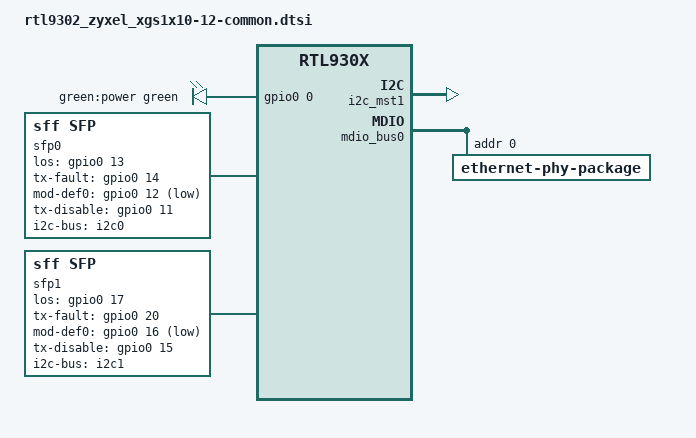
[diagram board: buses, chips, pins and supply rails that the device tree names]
// SPDX-License-Identifier: GPL-2.0-or-later
/dts-v1/;

#include "rtl930x.dtsi"

#include <dt-bindings/input/input.h>
#include <dt-bindings/gpio/gpio.h>
#include <dt-bindings/leds/common.h>

/ {
	aliases {
		led-boot = &led_pwr_sys;
		led-failsafe = &led_pwr_sys;
		led-running = &led_pwr_sys;
		led-upgrade = &led_pwr_sys;
	};

	leds {
		compatible = "gpio-leds";

		pinctrl-names = "default";
		pinctrl-0 = <&pinmux_disable_sys_led>;

		led_pwr_sys: led-0 {
			label = "green:power";
			color = <LED_COLOR_ID_GREEN>;
			function = LED_FUNCTION_POWER;
			gpios = <&gpio0 0 GPIO_ACTIVE_HIGH>;
		};
	};

	sfp0: sfp-p11 {
		compatible = "sff,sfp";
		i2c-bus = <&i2c0>;
		los-gpio = <&gpio0 13 GPIO_ACTIVE_HIGH>;
		tx-fault-gpio = <&gpio0 14 GPIO_ACTIVE_HIGH>;
		mod-def0-gpio = <&gpio0 12 GPIO_ACTIVE_LOW>;
		tx-disable-gpio = <&gpio0 11 GPIO_ACTIVE_HIGH>;
	};

	sfp1: sfp-p12 {
		compatible = "sff,sfp";
		i2c-bus = <&i2c1>;
		los-gpio = <&gpio0 17 GPIO_ACTIVE_HIGH>;
		tx-fault-gpio = <&gpio0 20 GPIO_ACTIVE_HIGH>;
		mod-def0-gpio = <&gpio0 16 GPIO_ACTIVE_LOW>;
		tx-disable-gpio = <&gpio0 15 GPIO_ACTIVE_HIGH>;
	};

	led_set: led_set {
		compatible = "realtek,rtl9300-leds";
		active-low;

		/* [Green] [Amber] */
		led_set0 = <(RTL93XX_LED_SET_1G | RTL93XX_LED_SET_LINK | RTL93XX_LED_SET_ACT)
			    (RTL93XX_LED_SET_100M | RTL93XX_LED_SET_10M | RTL93XX_LED_SET_LINK |
			     RTL93XX_LED_SET_ACT)>;

		/* [Amber] [Lime] [Green] [Blue] */
		led_set1 = <(RTL93XX_LED_SET_100M | RTL93XX_LED_SET_10M | RTL93XX_LED_SET_LINK |
			     RTL93XX_LED_SET_ACT)
			    (RTL93XX_LED_SET_1G | RTL93XX_LED_SET_LINK | RTL93XX_LED_SET_ACT)
			    (RTL93XX_LED_SET_2P5G | RTL93XX_LED_SET_LINK | RTL93XX_LED_SET_ACT)
			    (RTL93XX_LED_SET_2P5G | RTL93XX_LED_SET_LINK | RTL93XX_LED_SET_ACT)>;

		/* [Lime] [Blue] */
		led_set2 = <(RTL93XX_LED_SET_5G | RTL93XX_LED_SET_2P5G | RTL93XX_LED_SET_1G |
			     RTL93XX_LED_SET_LINK | RTL93XX_LED_SET_ACT)
			    (RTL93XX_LED_SET_10G | RTL93XX_LED_SET_5G | RTL93XX_LED_SET_2P5G |
			     RTL93XX_LED_SET_LINK | RTL93XX_LED_SET_ACT)>;
	};
};

&i2c_mst1 {
	status = "okay";

	/* i2c of the left SFP+ cage seen from the front; port 11 */
	i2c0: i2c@0 {
		reg = <0>;
	};

	/* i2c of the right SFP+ cage seen from the front; port 12 */
	i2c1: i2c@1 {
		reg = <1>;
	};
};

&mdio_bus0 {
	/*
	 * External RTL8218D PHY
	 *
	 * reset-gpios = <&gpio0 21 GPIO_ACTIVE_LOW>;
	 * disabled because we do not know how to bring up again
	 */
	ethernet-phy-package@0 {
		#address-cells = <1>;
		#size-cells = <0>;
		reg = <0>;

		PHY_C22(0, 0)
		PHY_C22(1, 1)
		PHY_C22(2, 2)
		PHY_C22(3, 3)
		PHY_C22(4, 4)
		PHY_C22(5, 5)
		PHY_C22(6, 6)
		PHY_C22(7, 7)
	};
};

&switch0 {
	ethernet-ports {
		#address-cells = <1>;
		#size-cells = <0>;

		SWITCH_PORT_LED(0, 1, 2, 0, 0, usxgmii)
		SWITCH_PORT_LED(1, 2, 2, 1, 0, usxgmii)
		SWITCH_PORT_LED(2, 3, 2, 2, 0, usxgmii)
		SWITCH_PORT_LED(3, 4, 2, 3, 0, usxgmii)
		SWITCH_PORT_LED(4, 5, 2, 4, 0, usxgmii)
		SWITCH_PORT_LED(5, 6, 2, 5, 0, usxgmii)
		SWITCH_PORT_LED(6, 7, 2, 6, 0, usxgmii)
		SWITCH_PORT_LED(7, 8, 2, 7, 0, usxgmii)

		port@24 {
			reg = <24>;
			label = "lan9";
			pcs-handle = <&serdes6 0>;
			phy-handle = <&phy24>;
			phy-mode = "sgmii";
			led-set = <1>;
			managed = "in-band-status";
		};
		port@25 {
			reg = <25>;
			label = "lan10";
			pcs-handle = <&serdes7 0>;
			phy-handle = <&phy25>;
			phy-mode = "sgmii";
			led-set = <1>;
			managed = "in-band-status";
		};

		SWITCH_PORT_SFP(26, 11, 8, 2, 0)
		SWITCH_PORT_SFP(27, 12, 9, 2, 1)

		port@28 {
			ethernet = <&ethernet0>;
			reg = <28>;
			phy-mode = "internal";
			fixed-link {
				speed = <1000>;
				full-duplex;
			};
		};
	};
};
